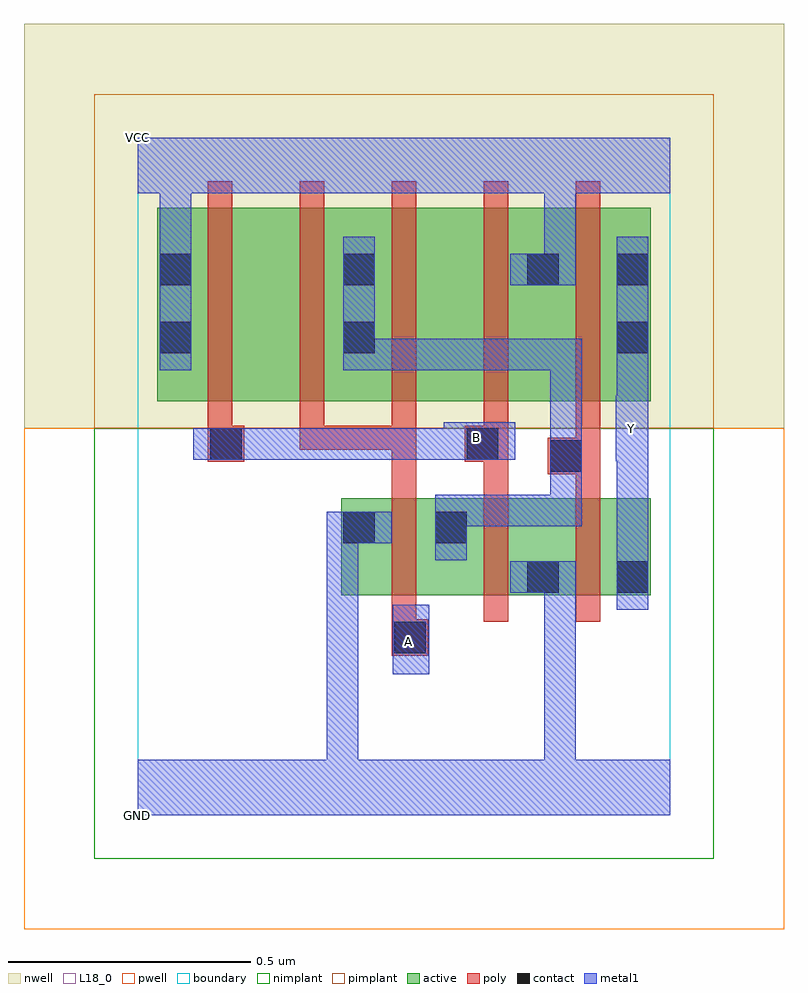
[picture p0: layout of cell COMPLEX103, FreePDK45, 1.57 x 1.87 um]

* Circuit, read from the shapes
.subckt COMPLEX103 A B GND VCC Y
M1 n1 A GND VSUBS nfet w=0.2u l=0.05u
M2 GND B n1 VSUBS nfet w=0.2u l=0.05u
M3 Y n1 GND VSUBS nfet w=0.2u l=0.05u
M4 n2 B VCC n3 pfet w=0.4u l=0.05u
M5 n1 A n2 n3 pfet w=0.4u l=0.05u
M6 n4 A n1 n3 pfet w=0.4u l=0.05u
M7 VCC B n4 n3 pfet w=0.4u l=0.05u
M8 Y n1 VCC n3 pfet w=0.4u l=0.05u
.ends

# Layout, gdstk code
import gdstk
lib = gdstk.Library(unit=1e-6, precision=1e-09)
def R(c, l, rs):  # rectangles x0, y0, x1, y1
    for r in rs: c.add(gdstk.rectangle(r[:2], r[2:], *l))
def A(c, l, x, y, w, h, nx, ny, dx, dy):  # array of equal rectangles
    R(c, l, [(x+i*dx, y+j*dy, x+i*dx+w, y+j*dy+h) for i in range(nx) for j in range(ny)])
active = (1, 0)
pwell = (2, 0)
nwell = (3, 0)
nimplant = (4, 0)
pimplant = (5, 0)
poly = (9, 0)
contact = (10, 0)
metal1 = (11, 0)
L18_0 = (18, 0)
boundary = (235, 0)

complex103 = lib.new_cell('COMPLEX103')
R(complex103, active, [(0.42,0.455,0.495,0.655), (0.42,0.455,0.685,0.655), (0.61,0.455,0.875,0.655), (0.61,0.455,0.685,0.632), (0.8,0.455,1.06,0.655), (0.8,0.455,0.875,0.597), (0.985,0.455,1.06,0.655), (0.04,0.855,0.265,1.255), (0.04,0.855,0.115,1.255), (0.265,0.855,0.495,1.255), (0.42,0.855,0.645,1.255), (0.645,0.855,0.875,1.255), (0.8,0.855,1.06,1.255), (0.985,0.855,1.06,1.2), (0.42,0.907,0.495,1.2), (0.8,0.907,0.875,1.255)])
R(complex103, pwell, [(-0.235,-0.235,1.335,0.8)])
R(complex103, nwell, [(-0.235,0.8,1.335,1.635)])
R(complex103, nimplant, [(-0.09,-0.09,1.19,0.8)])
R(complex103, pimplant, [(-0.09,0.8,1.19,1.49)])
A(complex103, poly, 0.525, 0.4, 0.05, 0.31, 3, 1, 0.19, 0)
A(complex103, poly, 0.145, 0.755, 0.05, 0.095, 4, 1, 0.19, 0)
A(complex103, poly, 0.145, 0.8, 0.05, 0.51, 5, 1, 0.19, 0)
R(complex103, poly, [(0.525,0.33,0.6,0.405), (0.525,0.355,0.575,0.45), (0.525,0.66,0.575,0.805), (0.715,0.66,0.765,0.78), (0.905,0.66,0.955,0.755), (0.847,0.705,0.955,0.78), (0.145,0.73,0.22,0.805), (0.675,0.73,0.765,0.805), (0.905,0.73,0.955,0.85), (0.335,0.755,0.575,0.805), (0.335,0.755,0.385,0.805), (0.335,0.755,0.385,0.805), (0.335,0.755,0.385,0.805), (0.525,0.755,0.575,0.805)])
A(complex103, contact, 0.045, 1.095, 0.065, 0.065, 3, 1, 0.38, 0)
R(complex103, contact, [(0.53,0.335,0.595,0.4), (0.805,0.46,0.87,0.525), (0.99,0.46,1.055,0.525), (0.425,0.562,0.49,0.627), (0.615,0.562,0.68,0.627), (0.852,0.71,0.917,0.775), (0.15,0.735,0.215,0.8), (0.68,0.735,0.745,0.8), (0.045,0.955,0.11,1.02), (0.425,0.955,0.49,1.02), (0.99,0.955,1.055,1.02), (0.99,1.095,1.055,1.16)])
R(complex103, metal1, [(0,0,1.1,0.115), (0.39,0.05,0.455,0.115), (0.39,0.05,0.455,0.115), (0.39,0.05,0.455,0.115), (0.39,0.05,0.455,0.115), (0.39,0.05,0.455,0.115), (0.39,0.05,0.455,0.115), (0.39,0.05,0.455,0.115), (0.39,0.05,0.455,0.115), (0.39,0.05,0.455,0.627), (0.84,0.05,0.905,0.115), (0.84,0.05,0.905,0.115), (0.84,0.05,0.905,0.115), (0.84,0.05,0.905,0.115), (0.84,0.05,0.905,0.525), (0.527,0.292,0.602,0.435), (0.99,0.425,1.055,0.56), (0.77,0.46,0.905,0.525), (0.84,0.46,0.905,0.525), (0.84,0.46,0.905,0.525), (0.84,0.46,0.905,0.525), (0.84,0.46,0.905,0.525), (0.99,0.495,1.055,0.797), (0.615,0.527,0.68,0.662), (0.39,0.562,0.525,0.627), (0.615,0.597,0.68,0.662), (0.615,0.597,0.68,0.662), (0.615,0.597,0.917,0.662), (0.852,0.597,0.917,0.662), (0.852,0.597,0.917,0.74), (0.852,0.675,0.917,0.81), (0.852,0.675,0.917,0.74), (0.852,0.675,0.917,0.74), (0.852,0.675,0.917,0.985), (0.987,0.732,1.055,0.867), (0.115,0.735,0.25,0.8), (0.185,0.735,0.25,0.8), (0.185,0.735,0.25,0.8), (0.185,0.735,0.387,0.8), (0.322,0.735,0.387,0.8), (0.322,0.735,0.387,0.8), (0.322,0.735,0.387,0.8), (0.322,0.735,0.525,0.8), (0.46,0.735,0.525,0.8), (0.46,0.735,0.697,0.8), (0.632,0.735,0.697,0.8), (0.632,0.735,0.697,0.8), (0.632,0.735,0.78,0.812), (0.99,0.802,1.055,0.985), (0.045,0.92,0.11,1.195), (0.425,0.92,0.49,1.195), (0.425,0.92,0.525,0.985), (0.46,0.92,0.525,0.985), (0.46,0.92,0.697,0.985), (0.632,0.92,0.697,0.985), (0.632,0.92,0.697,0.985), (0.632,0.92,0.697,0.985), (0.632,0.92,0.917,0.985), (0.852,0.92,0.917,0.985), (0.99,0.92,1.055,1.195), (0.77,1.095,0.905,1.16), (0.84,1.095,0.905,1.35), (0.045,1.13,0.11,1.35), (0,1.285,1.1,1.4)])
R(complex103, L18_0, [(0,0,1.1,0.115), (0.39,0.05,0.455,0.115), (0.39,0.05,0.455,0.115), (0.39,0.05,0.455,0.115), (0.39,0.05,0.455,0.115), (0.39,0.05,0.455,0.115), (0.39,0.05,0.455,0.115), (0.39,0.05,0.455,0.115), (0.39,0.05,0.455,0.115), (0.39,0.05,0.455,0.627), (0.84,0.05,0.905,0.115), (0.84,0.05,0.905,0.115), (0.84,0.05,0.905,0.115), (0.84,0.05,0.905,0.115), (0.84,0.05,0.905,0.525), (0.527,0.292,0.602,0.435), (0.527,0.327,0.592,0.392), (0.99,0.425,1.055,0.56), (0.77,0.46,0.905,0.525), (0.84,0.46,0.905,0.525), (0.84,0.46,0.905,0.525), (0.84,0.46,0.905,0.525), (0.84,0.46,0.905,0.525), (0.99,0.495,1.055,0.797), (0.39,0.562,0.525,0.627), (0.987,0.732,1.055,0.867), (0.115,0.735,0.25,0.8), (0.185,0.735,0.25,0.8), (0.185,0.735,0.25,0.8), (0.185,0.735,0.387,0.8), (0.322,0.735,0.387,0.8), (0.322,0.735,0.387,0.8), (0.322,0.735,0.387,0.8), (0.322,0.735,0.525,0.8), (0.46,0.735,0.525,0.8), (0.46,0.735,0.697,0.8), (0.632,0.735,0.697,0.8), (0.632,0.735,0.697,0.8), (0.632,0.735,0.78,0.812), (0.667,0.747,0.732,0.812), (0.987,0.767,1.052,0.832), (0.99,0.802,1.055,0.985), (0.045,0.92,0.11,1.195), (0.99,0.92,1.055,1.195), (0.77,1.095,0.905,1.16), (0.84,1.095,0.905,1.35), (0.045,1.13,0.11,1.35), (0,1.285,1.1,1.4)])
R(complex103, boundary, [(0,0,1.1,1.4)])
complex103.add(gdstk.Label('A', (0.56,0.36), layer=11, texttype=0))
complex103.add(gdstk.Label('B', (0.7,0.78), layer=11, texttype=0))
complex103.add(gdstk.Label('Y', (1.02,0.8), layer=11, texttype=0))
complex103.add(gdstk.Label('VCC', (0,1.4), layer=11, texttype=0))
complex103.add(gdstk.Label('GND', (0,0), layer=11, texttype=0))

lib.write_gds('COMPLEX103.gds')
